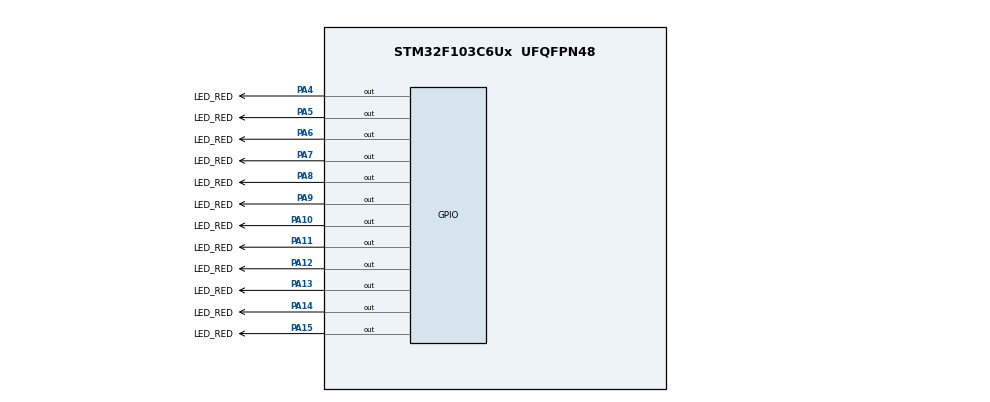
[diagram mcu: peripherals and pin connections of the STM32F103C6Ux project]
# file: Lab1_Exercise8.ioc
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Mcu.Family=STM32F1
Mcu.Name=STM32F103C6Ux
Mcu.Package=UFQFPN48
NVIC.PriorityGroup=NVIC_PRIORITYGROUP_4
PA10.GPIO_Label=LED_RED
PA10.PinState=GPIO_PIN_SET
PA10.Signal=GPIO_Output
PA11.GPIO_Label=LED_RED
PA11.PinState=GPIO_PIN_SET
PA11.Signal=GPIO_Output
PA12.GPIO_Label=LED_RED
PA12.PinState=GPIO_PIN_SET
PA12.Signal=GPIO_Output
PA13.GPIO_Label=LED_RED
PA13.PinState=GPIO_PIN_SET
PA13.Signal=GPIO_Output
PA14.GPIO_Label=LED_RED
PA14.PinState=GPIO_PIN_SET
PA14.Signal=GPIO_Output
PA15.GPIO_Label=LED_RED
PA15.PinState=GPIO_PIN_SET
PA15.Signal=GPIO_Output
PA4.GPIO_Label=LED_RED
PA4.PinState=GPIO_PIN_SET
PA4.Signal=GPIO_Output
PA5.GPIO_Label=LED_RED
PA5.PinState=GPIO_PIN_SET
PA5.Signal=GPIO_Output
PA6.GPIO_Label=LED_RED
PA6.PinState=GPIO_PIN_SET
PA6.Signal=GPIO_Output
PA7.GPIO_Label=LED_RED
PA7.PinState=GPIO_PIN_SET
PA7.Signal=GPIO_Output
PA8.GPIO_Label=LED_RED
PA8.PinState=GPIO_PIN_SET
PA8.Signal=GPIO_Output
PA9.GPIO_Label=LED_RED
PA9.PinState=GPIO_PIN_SET
PA9.Signal=GPIO_Output
ProjectManager.HeapSize=0x200
ProjectManager.StackSize=0x400
ProjectManager.TargetToolchain=STM32CubeIDE
RCC.APB1Freq_Value=8000000
RCC.APB2Freq_Value=8000000
VP_SYS_VS_ND.Mode=No_Debug
board=custom

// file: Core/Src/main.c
/* USER CODE BEGIN Header */
/**
  ******************************************************************************
  * @file           : main.c
  * @brief          : Main program body
  ******************************************************************************
  * @attention
  *
  * <h2><center>&copy; Copyright (c) 2026 STMicroelectronics.
  * All rights reserved.</center></h2>
  *
  * This software component is licensed by ST under BSD 3-Clause license,
  * the "License"; You may not use this file except in compliance with the
  * License. You may obtain a copy of the License at:
  *                        opensource.org/licenses/BSD-3-Clause
  *
  ******************************************************************************
  */
/* USER CODE END Header */
#include "main.h"

/* USER CODE BEGIN PV */
uint8_t demo_ex8[] = {0, 3, 6, 9, 2, 7, 11, 5};
uint8_t index_ex8 = 0;
/* USER CODE END PV */

void SystemClock_Config(void);
static void MX_GPIO_Init(void);

/* USER CODE BEGIN 0 */
void clearAllClock(void)
{
    HAL_GPIO_WritePin(GPIOA,
                      GPIO_PIN_4  | GPIO_PIN_5  | GPIO_PIN_6  |
                      GPIO_PIN_7  | GPIO_PIN_8  | GPIO_PIN_9  |
                      GPIO_PIN_10 | GPIO_PIN_11 | GPIO_PIN_12 |
                      GPIO_PIN_13 | GPIO_PIN_14 | GPIO_PIN_15,
                      GPIO_PIN_SET);
}

void setNumberOnClock(int num)
{
    switch (num)
    {
        case 0:
            // 12 gio
            HAL_GPIO_WritePin(GPIOA, GPIO_PIN_4, GPIO_PIN_RESET);
            break;

        case 1:
            // 1 gio
            HAL_GPIO_WritePin(GPIOA, GPIO_PIN_5, GPIO_PIN_RESET);
            break;

        case 2:
            // 2 gio
            HAL_GPIO_WritePin(GPIOA, GPIO_PIN_6, GPIO_PIN_RESET);
            break;

        case 3:
            // 3 gio
            HAL_GPIO_WritePin(GPIOA, GPIO_PIN_7, GPIO_PIN_RESET);
            break;

        case 4:
            // 4 gio
            HAL_GPIO_WritePin(GPIOA, GPIO_PIN_8, GPIO_PIN_RESET);
            break;

        case 5:
            // 5 gio
            HAL_GPIO_WritePin(GPIOA, GPIO_PIN_9, GPIO_PIN_RESET);
            break;

        case 6:
            // 6 gio
            HAL_GPIO_WritePin(GPIOA, GPIO_PIN_10, GPIO_PIN_RESET);
            break;

        case 7:
            // 7 gio
            HAL_GPIO_WritePin(GPIOA, GPIO_PIN_11, GPIO_PIN_RESET);
            break;

        case 8:
            // 8 gio
            HAL_GPIO_WritePin(GPIOA, GPIO_PIN_12, GPIO_PIN_RESET);
            break;

        case 9:
            // 9 gio
            HAL_GPIO_WritePin(GPIOA, GPIO_PIN_13, GPIO_PIN_RESET);
            break;

        case 10:
            // 10 gio
            HAL_GPIO_WritePin(GPIOA, GPIO_PIN_14, GPIO_PIN_RESET);
            break;

        case 11:
            // 11 gio
            HAL_GPIO_WritePin(GPIOA, GPIO_PIN_15, GPIO_PIN_RESET);
            break;

        default:
            break;
    }
}

void EX8_RUN(void)
{
    clearAllClock();

    setNumberOnClock(demo_ex8[index_ex8]);

    index_ex8++;

    if (index_ex8 >= 8)
    {
        index_ex8 = 0;
    }
}
/* USER CODE END 0 */

int main(void)
{

  /* MCU Configuration--------------------------------------------------------*/

  /* Reset of all peripherals, Initializes the Flash interface and the Systick. */
  HAL_Init();

  /* Configure the system clock */
  SystemClock_Config();

  /* Initialize all configured peripherals */
  MX_GPIO_Init();

  /* Infinite loop */
  while (1)
  {
	  EX8_RUN();
      HAL_Delay(1000);
  }
}

void SystemClock_Config(void)
{
  RCC_OscInitTypeDef RCC_OscInitStruct = {0};
  RCC_ClkInitTypeDef RCC_ClkInitStruct = {0};

  /** Initializes the RCC Oscillators according to the specified parameters
  * in the RCC_OscInitTypeDef structure.
  */
  RCC_OscInitStruct.OscillatorType = RCC_OSCILLATORTYPE_HSI;
  RCC_OscInitStruct.HSIState = RCC_HSI_ON;
  RCC_OscInitStruct.HSICalibrationValue = RCC_HSICALIBRATION_DEFAULT;
  RCC_OscInitStruct.PLL.PLLState = RCC_PLL_NONE;
  if (HAL_RCC_OscConfig(&RCC_OscInitStruct) != HAL_OK)
  {
    Error_Handler();
  }
  /** Initializes the CPU, AHB and APB buses clocks
  */
  RCC_ClkInitStruct.ClockType = RCC_CLOCKTYPE_HCLK|RCC_CLOCKTYPE_SYSCLK
                              |RCC_CLOCKTYPE_PCLK1|RCC_CLOCKTYPE_PCLK2;
  RCC_ClkInitStruct.SYSCLKSource = RCC_SYSCLKSOURCE_HSI;
  RCC_ClkInitStruct.AHBCLKDivider = RCC_SYSCLK_DIV1;
  RCC_ClkInitStruct.APB1CLKDivider = RCC_HCLK_DIV1;
  RCC_ClkInitStruct.APB2CLKDivider = RCC_HCLK_DIV1;

  if (HAL_RCC_ClockConfig(&RCC_ClkInitStruct, FLASH_LATENCY_0) != HAL_OK)
  {
    Error_Handler();
  }
}

static void MX_GPIO_Init(void)
{
  GPIO_InitTypeDef GPIO_InitStruct = {0};

  /* GPIO Ports Clock Enable */
  __HAL_RCC_GPIOA_CLK_ENABLE();

  /*Configure GPIO pin Output Level */
  HAL_GPIO_WritePin(GPIOA, LED_RED_Pin|LED_REDA5_Pin|LED_REDA6_Pin|LED_REDA7_Pin
                          |LED_REDA8_Pin|LED_REDA9_Pin|LED_REDA10_Pin|LED_REDA11_Pin
                          |LED_REDA12_Pin|LED_REDA13_Pin|LED_REDA14_Pin|LED_REDA15_Pin, GPIO_PIN_SET);

  /*Configure GPIO pins : LED_RED_Pin LED_REDA5_Pin LED_REDA6_Pin LED_REDA7_Pin
                           LED_REDA8_Pin LED_REDA9_Pin LED_REDA10_Pin LED_REDA11_Pin
                           LED_REDA12_Pin LED_REDA13_Pin LED_REDA14_Pin LED_REDA15_Pin */
  GPIO_InitStruct.Pin = LED_RED_Pin|LED_REDA5_Pin|LED_REDA6_Pin|LED_REDA7_Pin
                          |LED_REDA8_Pin|LED_REDA9_Pin|LED_REDA10_Pin|LED_REDA11_Pin
                          |LED_REDA12_Pin|LED_REDA13_Pin|LED_REDA14_Pin|LED_REDA15_Pin;
  GPIO_InitStruct.Mode = GPIO_MODE_OUTPUT_PP;
  GPIO_InitStruct.Pull = GPIO_NOPULL;
  GPIO_InitStruct.Speed = GPIO_SPEED_FREQ_LOW;
  HAL_GPIO_Init(GPIOA, &GPIO_InitStruct);

}

void Error_Handler(void)
{
  __disable_irq();
  while (1)
  {
  }
}

/************************ (C) COPYRIGHT STMicroelectronics *****END OF FILE****/
